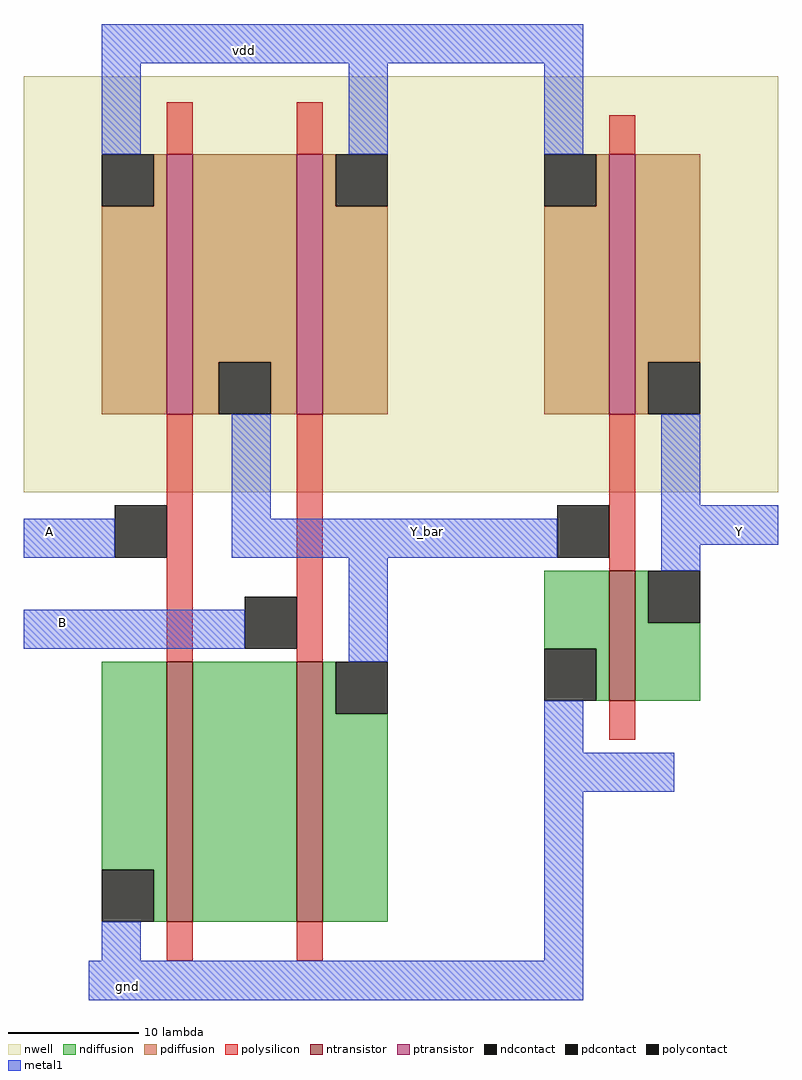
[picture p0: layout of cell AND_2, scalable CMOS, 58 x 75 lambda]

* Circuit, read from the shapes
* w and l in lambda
.subckt AND_2 A B Y Y_bar gnd vdd
M1 n1 A gnd VSUBS nfet w=20 l=2
M2 Y_bar B n1 VSUBS nfet w=20 l=2
M3 Y Y_bar gnd VSUBS nfet w=10 l=2
M4 Y_bar A vdd n2 pfet w=20 l=2
M5 vdd B Y_bar n2 pfet w=20 l=2
M6 Y Y_bar vdd n2 pfet w=20 l=2
.ends

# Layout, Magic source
magic
tech scmos
<< nwell >>
rect 33 117 91 149
<< ntransistor >>
rect 44 84 46 104
rect 54 84 56 104
rect 78 101 80 111
<< ptransistor >>
rect 44 123 46 143
rect 54 123 56 143
rect 78 123 80 143
<< ndiffusion >>
rect 73 105 78 111
rect 39 88 44 104
rect 43 84 44 88
rect 46 84 54 104
rect 56 100 57 104
rect 77 101 78 105
rect 80 107 81 111
rect 80 101 85 107
rect 56 84 61 100
<< pdiffusion >>
rect 43 139 44 143
rect 39 123 44 139
rect 46 127 54 143
rect 46 123 48 127
rect 52 123 54 127
rect 56 139 57 143
rect 56 123 61 139
rect 77 139 78 143
rect 73 123 78 139
rect 80 127 85 143
rect 80 123 81 127
<< ndcontact >>
rect 39 84 43 88
rect 57 100 61 104
rect 73 101 77 105
rect 81 107 85 111
<< pdcontact >>
rect 39 139 43 143
rect 48 123 52 127
rect 57 139 61 143
rect 73 139 77 143
rect 81 123 85 127
<< polysilicon >>
rect 44 143 46 147
rect 54 143 56 147
rect 78 143 80 146
rect 44 104 46 123
rect 54 104 56 123
rect 78 111 80 123
rect 78 98 80 101
rect 44 81 46 84
rect 54 81 56 84
<< polycontact >>
rect 40 112 44 116
rect 50 105 54 109
rect 74 112 78 116
<< metal1 >>
rect 39 150 76 153
rect 39 143 42 150
rect 58 143 61 150
rect 73 143 76 150
rect 33 112 40 115
rect 49 115 52 123
rect 82 116 85 123
rect 49 112 74 115
rect 82 113 91 116
rect 33 105 50 108
rect 58 104 61 112
rect 82 111 85 113
rect 73 97 76 101
rect 73 94 83 97
rect 39 81 42 84
rect 73 81 76 94
rect 38 78 76 81
<< labels >>
rlabel metal1 41 79 41 79 1 gnd
rlabel metal1 36 107 36 107 3 B
rlabel metal1 50 151 50 151 5 vdd
rlabel metal1 35 114 35 114 3 A
rlabel metal1 64 114 64 114 7 Y_bar
rlabel metal1 88 114 88 114 7 Y
<< end >>
